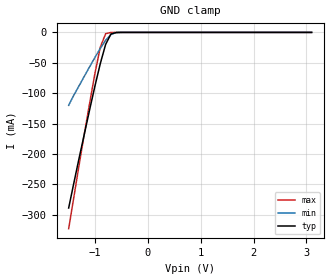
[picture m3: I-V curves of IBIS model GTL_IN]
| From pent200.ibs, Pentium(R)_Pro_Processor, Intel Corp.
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[Model]   GTL_IN
Model_type  Input
Polarity   Inverting
Enable   Active-Low
Vinl = 0.8
Vinh = 1.2
|Variable   typ   min   max
C_comp   2.7p   2.5p   3.0p
|Variable   typ   min   max
[Voltage range] 3.1   2.845  3.255
|Variable   typ   min   max
[Temperature Range] 80   100   0
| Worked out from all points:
|   GND clamp passes 1 mA (typ) near -0.63 V on its own axis
[GND_clamp]
|Volts   typ   min   max
-1.5V     -289mA     -120mA     -323mA
-1.3V     -206mA     -87.4mA    -217mA
-1.2V     -166mA     -71.6mA    -165mA
-1V       -87.3mA    -40.8mA    -66.2mA
-900mV    -50.9mA    -26.2mA    -23.9mA
-800mV    -19.7mA    -13mA      -2.14mA
-700mV    -2.72mA    -3.4mA     -134uA
-600mV    -187uA     -323uA     -8.1uA
3.1V      0A         0A         0A
[POWER_clamp]
|Volts   typ   min   max
-600mV    0A         0A         0A
0V        0A         0A         0A
